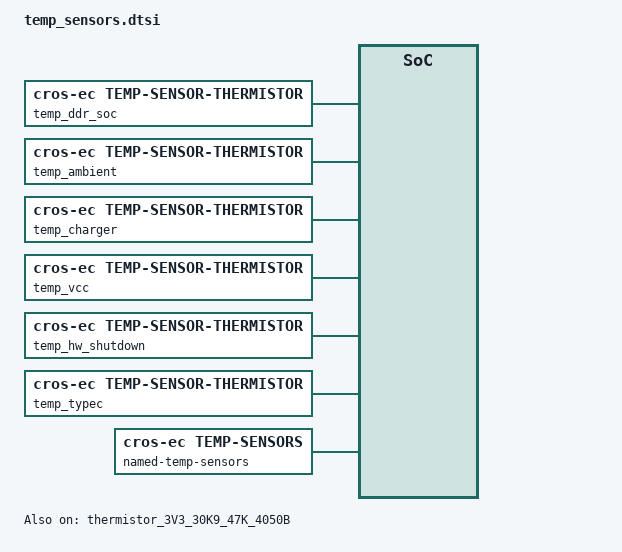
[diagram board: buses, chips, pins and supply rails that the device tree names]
/* Copyright 2022 The ChromiumOS Authors
 * Use of this source code is governed by a BSD-style license that can be
 * found in the LICENSE file.
 */

#include <cros/thermistor/thermistor.dtsi>

/ {
	named-adc-channels {
		/delete-node/ wwan;
		adc_vcc: vcc {
			enum-name = "ADC_TEMP_SENSOR_2";
			io-channels = <&adc0 1>;
		};
		adc_ambient: ambient {
			enum-name = "ADC_TEMP_SENSOR_3";
			io-channels = <&adc0 8>;
		};
		adc_charger: charger {
			enum-name = "ADC_TEMP_SENSOR_4";
			io-channels = <&adc0 7>;
		};
		adc_hw_shutdown: hw_shutdown {
			enum-name = "ADC_TEMP_SENSOR_5";
			io-channels = <&adc0 3>;
		};
		adc_typec: typec {
			enum-name = "ADC_TEMP_SENSOR_6";
			io-channels = <&adc0 11>;
		};
	};

	temp_ddr_soc: ddr_soc {
		compatible = "cros-ec,temp-sensor-thermistor";
		thermistor = <&thermistor_3V3_30K9_47K_4050B>;
		adc = <&adc_ddr_soc>;
	};
	temp_ambient: ambient {
		compatible = "cros-ec,temp-sensor-thermistor";
		thermistor = <&thermistor_3V3_30K9_47K_4050B>;
		adc = <&adc_ambient>;
	};
	temp_charger: charger {
		compatible = "cros-ec,temp-sensor-thermistor";
		thermistor = <&thermistor_3V3_30K9_47K_4050B>;
		adc = <&adc_charger>;
	};
	temp_vcc: vcc {
		compatible = "cros-ec,temp-sensor-thermistor";
		thermistor = <&thermistor_3V3_30K9_47K_4050B>;
		adc = <&adc_vcc>;
	};
	temp_hw_shutdown: hw_shutdown {
		compatible = "cros-ec,temp-sensor-thermistor";
		thermistor = <&thermistor_3V3_30K9_47K_4050B>;
		adc = <&adc_hw_shutdown>;
	};
	temp_typec: typec {
		compatible = "cros-ec,temp-sensor-thermistor";
		thermistor = <&thermistor_3V3_30K9_47K_4050B>;
		adc = <&adc_typec>;
	};

	named-temp-sensors {
		compatible = "cros-ec,temp-sensors";
		ddr_soc {
			temp_fan_off = <35>;
			temp_fan_max = <60>;
			temp_host_high = <85>;
			temp_host_halt = <90>;
			temp_host_release_high = <80>;
			sensor = <&temp_ddr_soc>;
		};
		ambient {
			temp_fan_off = <35>;
			temp_fan_max = <60>;
			temp_host_high = <85>;
			temp_host_halt = <90>;
			temp_host_release_high = <80>;
			sensor = <&temp_ambient>;
		};
		charger {
			temp_fan_off = <35>;
			temp_fan_max = <65>;
			temp_host_high = <105>;
			temp_host_halt = <120>;
			temp_host_release_high = <90>;
			sensor = <&temp_charger>;
		};
	};
};

&thermistor_3V3_30K9_47K_4050B {
	status = "okay";
};
